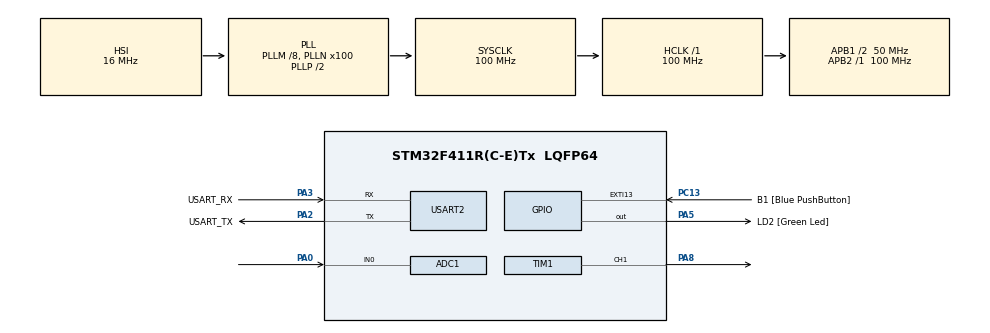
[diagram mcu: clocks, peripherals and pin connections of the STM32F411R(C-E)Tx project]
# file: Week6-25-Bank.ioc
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ADC1.Channel-0\#ChannelRegularConversion=ADC_CHANNEL_0
ADC1.ExternalTrigConv=ADC_EXTERNALTRIGCONV_T3_TRGO
ADC1.NbrOfConversionFlag=1
ADC1.Rank-0\#ChannelRegularConversion=1
ADC1.SamplingTime-0\#ChannelRegularConversion=ADC_SAMPLETIME_56CYCLES
ADC1.master=1
Mcu.Family=STM32F4
Mcu.Name=STM32F411R(C-E)Tx
Mcu.Package=LQFP64
NVIC.ADC_IRQn=true\:0\:0\:false\:false\:true\:true\:true
NVIC.PriorityGroup=NVIC_PRIORITYGROUP_0
NVIC.TIM1_TRG_COM_TIM11_IRQn=true\:0\:0\:false\:false\:true\:true\:true
PA0-WKUP.Signal=ADCx_IN0
PA13.GPIO_Label=TMS
PA13.Mode=Serial_Wire
PA13.Signal=SYS_JTMS-SWDIO
PA14.GPIO_Label=TCK
PA14.Mode=Serial_Wire
PA14.Signal=SYS_JTCK-SWCLK
PA2.GPIO_Label=USART_TX
PA2.Mode=Asynchronous
PA2.Signal=USART2_TX
PA3.GPIO_Label=USART_RX
PA3.Mode=Asynchronous
PA3.Signal=USART2_RX
PA5.GPIO_Label=LD2 [Green Led]
PA5.Signal=GPIO_Output
PA8.Signal=S_TIM1_CH1
PB3.GPIO_Label=SWO
PB3.Signal=SYS_JTDO-SWO
PC13-ANTI_TAMP.GPIO_Label=B1 [Blue PushButton]
PC13-ANTI_TAMP.GPIO_ModeDefaultEXTI=GPIO_MODE_IT_FALLING
PC13-ANTI_TAMP.Signal=GPXTI13
PC14-OSC32_IN.Mode=LSE-External-Oscillator
PC14-OSC32_IN.Signal=RCC_OSC32_IN
PC15-OSC32_OUT.Mode=LSE-External-Oscillator
PC15-OSC32_OUT.Signal=RCC_OSC32_OUT
PH0\ -\ OSC_IN.Mode=HSE-External-Clock-Source
PH0\ -\ OSC_IN.Signal=RCC_OSC_IN
PH1\ -\ OSC_OUT.Mode=HSE-External-Clock-Source
PH1\ -\ OSC_OUT.Signal=RCC_OSC_OUT
ProjectManager.HeapSize=0x200
ProjectManager.StackSize=0x400
ProjectManager.TargetToolchain=STM32CubeIDE
RCC.48MHZClocksFreq_Value=50000000
RCC.AHBFreq_Value=100000000
RCC.APB1CLKDivider=RCC_HCLK_DIV2
RCC.APB1Freq_Value=50000000
RCC.APB1TimFreq_Value=100000000
RCC.APB2Freq_Value=100000000
RCC.APB2TimFreq_Value=100000000
RCC.CortexFreq_Value=100000000
RCC.FLatency-AdvancedSettings=FLASH_LATENCY_3
RCC.HCLKFreq_Value=100000000
RCC.HSE_VALUE=8000000
RCC.HSI_VALUE=16000000
RCC.PLLM=8
RCC.PLLN=100
RCC.SYSCLKFreq_VALUE=100000000
RCC.SYSCLKSource=RCC_SYSCLKSOURCE_PLLCLK
RCC.VCOOutputFreq_Value=200000000
SH.ADCx_IN0.0=ADC1_IN0,IN0
SH.S_TIM1_CH1.0=TIM1_CH1,PWM Generation1 CH1
TIM1.Channel-PWM\ Generation1\ CH1=TIM_CHANNEL_1
TIM1.Period=10000
TIM11.Prescaler=99
TIM3.Period=1000
TIM3.Prescaler=99
TIM3.TIM_MasterOutputTrigger=TIM_TRGO_UPDATE
USART2.VirtualMode=VM_ASYNC
VP_TIM11_VS_ClockSourceINT.Mode=Enable_Timer
VP_TIM1_VS_ClockSourceINT.Mode=Internal
VP_TIM3_VS_ClockSourceINT.Mode=Internal
board=NUCLEO-F411RE

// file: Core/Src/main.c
/* USER CODE BEGIN Header */
/**
  ******************************************************************************
  * @file           : main.c
  * @brief          : Main program body
  ******************************************************************************
  * @attention
  *
  * <h2><center>&copy; Copyright (c) 2021 STMicroelectronics.
  * All rights reserved.</center></h2>
  *
  * This software component is licensed by ST under BSD 3-Clause license,
  * the "License"; You may not use this file except in compliance with the
  * License. You may obtain a copy of the License at:
  *                        opensource.org/licenses/BSD-3-Clause
  *
  ******************************************************************************
  */
/* USER CODE END Header */
#include "main.h"

ADC_HandleTypeDef hadc1;

TIM_HandleTypeDef htim1;
TIM_HandleTypeDef htim3;
TIM_HandleTypeDef htim11;

UART_HandleTypeDef huart2;

/* USER CODE BEGIN PV */
uint8_t ADCUpdateFlag = 0;
//Store ADC Value
uint16_t ADCFeedBack = 0;

uint16_t PWMOut = 3000;

uint64_t _micro = 0;
uint64_t TimeOutputLoop = 0;

float error = 0;

float kp = 1;

uint16_t voltvalue = 1; //voltvalue คือค่า volt จริงๆที่เรา ต้องการ เช่น เราอยากให้ค่านี้ลู่เข้า 1 volt ก็ใส่ตัวเเปรนี้เป็น 1 [หน่วยเป็น volt]

uint16_t bitvalue = 0; //bitvalue คือค่า bit ของ volt ต่างๆที่อยากให้ลู่ voltต่างๆนั้นก็คือ  voltvalue จะมีตัวเเปร voltvalue อยู่ในสมการ  เช่น
					   //เราให้ voltvalue เป็น 1      ค่า bitvalue ก็จะเป็นค่า bitออกมา ที่ 1volt ตัวอย่าง 3.3V->4095 , 1V->1241 บรรยัดไตรยางค์
					  //เพราะฉะนั้น bitvalue = 1241 นั้นเองเนื่องจากตั้ง voltvalue เป็น 1 พูดง่ายๆก็คือ bitvalue คือ ค่าของ 1volt ที่เป็น bit
                                    //หรือ ค่า bit ของ 1 volt นั้นเเอง ถ้าลองใส่ voltvalue เป็น 3.3 bitvalue ก็จะเป็น 4095 นั้นเอง

/* USER CODE END PV */

void SystemClock_Config(void);
static void MX_GPIO_Init(void);
static void MX_USART2_UART_Init(void);
static void MX_ADC1_Init(void);
static void MX_TIM1_Init(void);
static void MX_TIM3_Init(void);
static void MX_TIM11_Init(void);
/* USER CODE BEGIN PFP */
uint64_t micros();
/* USER CODE END PFP */

int main(void)
{

  /* MCU Configuration--------------------------------------------------------*/

  /* Reset of all peripherals, Initializes the Flash interface and the Systick. */
  HAL_Init();

  /* Configure the system clock */
  SystemClock_Config();

  /* Initialize all configured peripherals */
  MX_GPIO_Init();
  MX_USART2_UART_Init();
  MX_ADC1_Init();
  MX_TIM1_Init();
  MX_TIM3_Init();
  MX_TIM11_Init();
  /* USER CODE BEGIN 2 */
  	  	 //ADC START
  		 HAL_ADC_Start_IT(&hadc1);
  		 HAL_TIM_Base_Start(&htim3);
  		 // start pwm
  		 HAL_TIM_Base_Start(&htim1);
  		 HAL_TIM_PWM_Start(&htim1, TIM_CHANNEL_1);
  		 // start micros
  		 HAL_TIM_Base_Start_IT(&htim11);
  /* USER CODE END 2 */

  /* Infinite loop */
  while (1)
  {

    /* USER CODE BEGIN 3 */
	  //1 Khz Loop
	  //ADC อ่านค่าได้ที่  12 bit เเละเมื่อเเปลงเลขฐาน 10 จะได้  0 ถึง 4095 0,1,2,3,4,...,4095 รวมเเล้วได้ 4096ตัว 2^12=4096
	 //บรรยัดไตรยางค์
	  //จ่าย input ไฟ 3.3 V -> ADC จะอ่านค่าได้ ถึง 4095
	 //จ่าย input ไฟ 1 V -> ADC จะอ่านค่าได้ถึง (4095/3.3)*1 = 1241
	  	if (micros() - TimeOutputLoop > 1000) {
	  		TimeOutputLoop = micros();
	  		// #001
	  		//เกี่ยวกับ Tim1 ตรง parameter setting
	  		//bitvalue = ((4095/3.3)*(voltvalue));  //สูตรเเปลง voltvalue ซึ่งก็คือ volt ใดๆ ให้อยู่ในรูป bit ของ volt นั้นๆ
	  		//                 ^
	  		//                 ^
	  		//                 |
	  		//สูตร bitvalue จริงๆมันคือข้างบนอะเเหละเเต่ uint16 ไม่สามารถคำนวณด้วยทศนิยมได้จริงต้องคูณ 10 เเละหาร 10ไปทั้งเศษเเละส่วนจริงทำให้สูตรกลายเป็นด้านล่าง
	  		bitvalue = ((40950/33)*(voltvalue));

	  		error = bitvalue - ADCFeedBack;
	  		PWMOut = (PWMOut + (kp*error));  //update ค่าไปเรื่อยๆเพื่อให้ลู่เข้าใกล้ค่าที่ต้องการ

	  		__HAL_TIM_SET_COMPARE(&htim1, TIM_CHANNEL_1, PWMOut);  //

	  	}

	  	if (ADCUpdateFlag) {
	  		ADCUpdateFlag = 0;
	  		//#002
	  	}
  }
  /* USER CODE END 3 */
}

void SystemClock_Config(void)
{
  RCC_OscInitTypeDef RCC_OscInitStruct = {0};
  RCC_ClkInitTypeDef RCC_ClkInitStruct = {0};

  /** Configure the main internal regulator output voltage
  */
  __HAL_RCC_PWR_CLK_ENABLE();
  __HAL_PWR_VOLTAGESCALING_CONFIG(PWR_REGULATOR_VOLTAGE_SCALE1);
  /** Initializes the RCC Oscillators according to the specified parameters
  * in the RCC_OscInitTypeDef structure.
  */
  RCC_OscInitStruct.OscillatorType = RCC_OSCILLATORTYPE_HSI;
  RCC_OscInitStruct.HSIState = RCC_HSI_ON;
  RCC_OscInitStruct.HSICalibrationValue = RCC_HSICALIBRATION_DEFAULT;
  RCC_OscInitStruct.PLL.PLLState = RCC_PLL_ON;
  RCC_OscInitStruct.PLL.PLLSource = RCC_PLLSOURCE_HSI;
  RCC_OscInitStruct.PLL.PLLM = 8;
  RCC_OscInitStruct.PLL.PLLN = 100;
  RCC_OscInitStruct.PLL.PLLP = RCC_PLLP_DIV2;
  RCC_OscInitStruct.PLL.PLLQ = 4;
  if (HAL_RCC_OscConfig(&RCC_OscInitStruct) != HAL_OK)
  {
    Error_Handler();
  }
  /** Initializes the CPU, AHB and APB buses clocks
  */
  RCC_ClkInitStruct.ClockType = RCC_CLOCKTYPE_HCLK|RCC_CLOCKTYPE_SYSCLK
                              |RCC_CLOCKTYPE_PCLK1|RCC_CLOCKTYPE_PCLK2;
  RCC_ClkInitStruct.SYSCLKSource = RCC_SYSCLKSOURCE_PLLCLK;
  RCC_ClkInitStruct.AHBCLKDivider = RCC_SYSCLK_DIV1;
  RCC_ClkInitStruct.APB1CLKDivider = RCC_HCLK_DIV2;
  RCC_ClkInitStruct.APB2CLKDivider = RCC_HCLK_DIV1;

  if (HAL_RCC_ClockConfig(&RCC_ClkInitStruct, FLASH_LATENCY_3) != HAL_OK)
  {
    Error_Handler();
  }
}

static void MX_ADC1_Init(void)
{

  ADC_ChannelConfTypeDef sConfig = {0};

  /** Configure the global features of the ADC (Clock, Resolution, Data Alignment and number of conversion)
  */
  hadc1.Instance = ADC1;
  hadc1.Init.ClockPrescaler = ADC_CLOCK_SYNC_PCLK_DIV4;
  hadc1.Init.Resolution = ADC_RESOLUTION_12B;
  hadc1.Init.ScanConvMode = DISABLE;
  hadc1.Init.ContinuousConvMode = DISABLE;
  hadc1.Init.DiscontinuousConvMode = DISABLE;
  hadc1.Init.ExternalTrigConvEdge = ADC_EXTERNALTRIGCONVEDGE_RISING;
  hadc1.Init.ExternalTrigConv = ADC_EXTERNALTRIGCONV_T3_TRGO;
  hadc1.Init.DataAlign = ADC_DATAALIGN_RIGHT;
  hadc1.Init.NbrOfConversion = 1;
  hadc1.Init.DMAContinuousRequests = DISABLE;
  hadc1.Init.EOCSelection = ADC_EOC_SINGLE_CONV;
  if (HAL_ADC_Init(&hadc1) != HAL_OK)
  {
    Error_Handler();
  }
  /** Configure for the selected ADC regular channel its corresponding rank in the sequencer and its sample time.
  */
  sConfig.Channel = ADC_CHANNEL_0;
  sConfig.Rank = 1;
  sConfig.SamplingTime = ADC_SAMPLETIME_56CYCLES;
  if (HAL_ADC_ConfigChannel(&hadc1, &sConfig) != HAL_OK)
  {
    Error_Handler();
  }

}

static void MX_TIM1_Init(void)
{

  TIM_ClockConfigTypeDef sClockSourceConfig = {0};
  TIM_MasterConfigTypeDef sMasterConfig = {0};
  TIM_OC_InitTypeDef sConfigOC = {0};
  TIM_BreakDeadTimeConfigTypeDef sBreakDeadTimeConfig = {0};

  htim1.Instance = TIM1;
  htim1.Init.Prescaler = 0;
  htim1.Init.CounterMode = TIM_COUNTERMODE_UP;
  htim1.Init.Period = 10000;
  htim1.Init.ClockDivision = TIM_CLOCKDIVISION_DIV1;
  htim1.Init.RepetitionCounter = 0;
  htim1.Init.AutoReloadPreload = TIM_AUTORELOAD_PRELOAD_DISABLE;
  if (HAL_TIM_Base_Init(&htim1) != HAL_OK)
  {
    Error_Handler();
  }
  sClockSourceConfig.ClockSource = TIM_CLOCKSOURCE_INTERNAL;
  if (HAL_TIM_ConfigClockSource(&htim1, &sClockSourceConfig) != HAL_OK)
  {
    Error_Handler();
  }
  if (HAL_TIM_PWM_Init(&htim1) != HAL_OK)
  {
    Error_Handler();
  }
  sMasterConfig.MasterOutputTrigger = TIM_TRGO_RESET;
  sMasterConfig.MasterSlaveMode = TIM_MASTERSLAVEMODE_DISABLE;
  if (HAL_TIMEx_MasterConfigSynchronization(&htim1, &sMasterConfig) != HAL_OK)
  {
    Error_Handler();
  }
  sConfigOC.OCMode = TIM_OCMODE_PWM1;
  sConfigOC.Pulse = 0;
  sConfigOC.OCPolarity = TIM_OCPOLARITY_HIGH;
  sConfigOC.OCNPolarity = TIM_OCNPOLARITY_HIGH;
  sConfigOC.OCFastMode = TIM_OCFAST_DISABLE;
  sConfigOC.OCIdleState = TIM_OCIDLESTATE_RESET;
  sConfigOC.OCNIdleState = TIM_OCNIDLESTATE_RESET;
  if (HAL_TIM_PWM_ConfigChannel(&htim1, &sConfigOC, TIM_CHANNEL_1) != HAL_OK)
  {
    Error_Handler();
  }
  sBreakDeadTimeConfig.OffStateRunMode = TIM_OSSR_DISABLE;
  sBreakDeadTimeConfig.OffStateIDLEMode = TIM_OSSI_DISABLE;
  sBreakDeadTimeConfig.LockLevel = TIM_LOCKLEVEL_OFF;
  sBreakDeadTimeConfig.DeadTime = 0;
  sBreakDeadTimeConfig.BreakState = TIM_BREAK_DISABLE;
  sBreakDeadTimeConfig.BreakPolarity = TIM_BREAKPOLARITY_HIGH;
  sBreakDeadTimeConfig.AutomaticOutput = TIM_AUTOMATICOUTPUT_DISABLE;
  if (HAL_TIMEx_ConfigBreakDeadTime(&htim1, &sBreakDeadTimeConfig) != HAL_OK)
  {
    Error_Handler();
  }
  HAL_TIM_MspPostInit(&htim1);

}

static void MX_TIM3_Init(void)
{

  TIM_ClockConfigTypeDef sClockSourceConfig = {0};
  TIM_MasterConfigTypeDef sMasterConfig = {0};

  htim3.Instance = TIM3;
  htim3.Init.Prescaler = 99;
  htim3.Init.CounterMode = TIM_COUNTERMODE_UP;
  htim3.Init.Period = 1000;
  htim3.Init.ClockDivision = TIM_CLOCKDIVISION_DIV1;
  htim3.Init.AutoReloadPreload = TIM_AUTORELOAD_PRELOAD_DISABLE;
  if (HAL_TIM_Base_Init(&htim3) != HAL_OK)
  {
    Error_Handler();
  }
  sClockSourceConfig.ClockSource = TIM_CLOCKSOURCE_INTERNAL;
  if (HAL_TIM_ConfigClockSource(&htim3, &sClockSourceConfig) != HAL_OK)
  {
    Error_Handler();
  }
  sMasterConfig.MasterOutputTrigger = TIM_TRGO_UPDATE;
  sMasterConfig.MasterSlaveMode = TIM_MASTERSLAVEMODE_DISABLE;
  if (HAL_TIMEx_MasterConfigSynchronization(&htim3, &sMasterConfig) != HAL_OK)
  {
    Error_Handler();
  }

}

static void MX_TIM11_Init(void)
{

  htim11.Instance = TIM11;
  htim11.Init.Prescaler = 99;
  htim11.Init.CounterMode = TIM_COUNTERMODE_UP;
  htim11.Init.Period = 65535;
  htim11.Init.ClockDivision = TIM_CLOCKDIVISION_DIV1;
  htim11.Init.AutoReloadPreload = TIM_AUTORELOAD_PRELOAD_DISABLE;
  if (HAL_TIM_Base_Init(&htim11) != HAL_OK)
  {
    Error_Handler();
  }

}

static void MX_USART2_UART_Init(void)
{

  huart2.Instance = USART2;
  huart2.Init.BaudRate = 115200;
  huart2.Init.WordLength = UART_WORDLENGTH_8B;
  huart2.Init.StopBits = UART_STOPBITS_1;
  huart2.Init.Parity = UART_PARITY_NONE;
  huart2.Init.Mode = UART_MODE_TX_RX;
  huart2.Init.HwFlowCtl = UART_HWCONTROL_NONE;
  huart2.Init.OverSampling = UART_OVERSAMPLING_16;
  if (HAL_UART_Init(&huart2) != HAL_OK)
  {
    Error_Handler();
  }

}

static void MX_GPIO_Init(void)
{
  GPIO_InitTypeDef GPIO_InitStruct = {0};

  /* GPIO Ports Clock Enable */
  __HAL_RCC_GPIOC_CLK_ENABLE();
  __HAL_RCC_GPIOH_CLK_ENABLE();
  __HAL_RCC_GPIOA_CLK_ENABLE();
  __HAL_RCC_GPIOB_CLK_ENABLE();

  /*Configure GPIO pin Output Level */
  HAL_GPIO_WritePin(LD2_GPIO_Port, LD2_Pin, GPIO_PIN_RESET);

  /*Configure GPIO pin : B1_Pin */
  GPIO_InitStruct.Pin = B1_Pin;
  GPIO_InitStruct.Mode = GPIO_MODE_IT_FALLING;
  GPIO_InitStruct.Pull = GPIO_NOPULL;
  HAL_GPIO_Init(B1_GPIO_Port, &GPIO_InitStruct);

  /*Configure GPIO pin : LD2_Pin */
  GPIO_InitStruct.Pin = LD2_Pin;
  GPIO_InitStruct.Mode = GPIO_MODE_OUTPUT_PP;
  GPIO_InitStruct.Pull = GPIO_NOPULL;
  GPIO_InitStruct.Speed = GPIO_SPEED_FREQ_LOW;
  HAL_GPIO_Init(LD2_GPIO_Port, &GPIO_InitStruct);

}

/* USER CODE BEGIN 4 */
void HAL_ADC_ConvCpltCallback(ADC_HandleTypeDef *hadc) {
	ADCFeedBack = HAL_ADC_GetValue(&hadc1);
	ADCUpdateFlag = 1;
}
void HAL_TIM_PeriodElapsedCallback(TIM_HandleTypeDef *htim) {
	if (htim == &htim11) {
		_micro += 65535;
	}
}

__inline__ uint64_t micros() {
	return _micro + htim11.Instance->CNT;
}
/* USER CODE END 4 */

void Error_Handler(void)
{
  __disable_irq();
  while (1)
  {
  }
}

/************************ (C) COPYRIGHT STMicroelectronics *****END OF FILE****/
